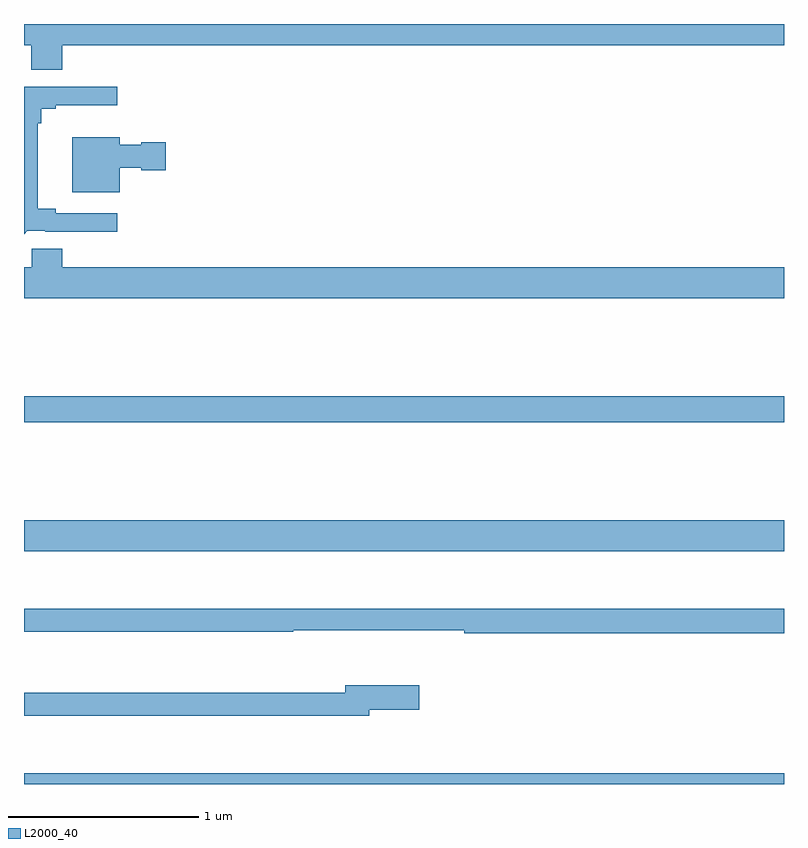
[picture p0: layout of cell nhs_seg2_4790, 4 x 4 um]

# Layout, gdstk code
import gdstk
lib = gdstk.Library(unit=1e-6, precision=1e-09)
def R(c, l, rs):  # rectangles x0, y0, x1, y1
    for r in rs: c.add(gdstk.rectangle(r[:2], r[2:], *l))
def P(c, l, *ps):  # polygons
    for p in ps: c.add(gdstk.Polygon(p, *l))
L2000_40 = (2000, 40)

nhs_seg2_4790 = lib.new_cell('nhs_seg2_4790')
R(nhs_seg2_4790, L2000_40, [(373,591.8,377,591.856), (373,593.024,377,593.188), (373,593.704,377,593.84)])
P(nhs_seg2_4790, L2000_40, [(373.201,595.688),(377,595.688),(377,595.8),(373,595.8),(373,595.688),(373.037,595.688),(373.037,595.56),(373.201,595.56)],
  [(373.017,594.711),(373.111,594.711),(373.111,594.707),(373.492,594.707),(373.492,594.804),(373.168,594.804),(373.168,594.827),(373.073,594.827),(373.073,595.277),(373.091,595.277),(373.091,595.354),(373.168,595.354),(373.168,595.373),(373.492,595.373),(373.492,595.47),(373,595.47),(373,594.694)],
  [(373.504,595.043),(373.617,595.043),(373.617,595.031),(373.747,595.031),(373.747,595.178),(373.617,595.178),(373.617,595.165),(373.504,595.165),(373.504,595.204),(373.253,595.204),(373.253,594.914),(373.504,594.914)],
  [(377,594.52),(373.202,594.52),(373.202,594.618),(373.042,594.618),(373.042,594.52),(373,594.52),(373,594.356),(377,594.356)],
  [(377,592.723),(373,592.723),(373,592.602),(374.416,592.602),(374.416,592.609),(375.316,592.609),(375.316,592.594),(377,592.594)],
  [(374.818,592.192),(375.079,592.192),(375.079,592.321),(374.69,592.321),(374.69,592.279),(373,592.279),(373,592.158),(374.818,592.158)])

lib.write_gds('nhs_seg2_4790.gds')
